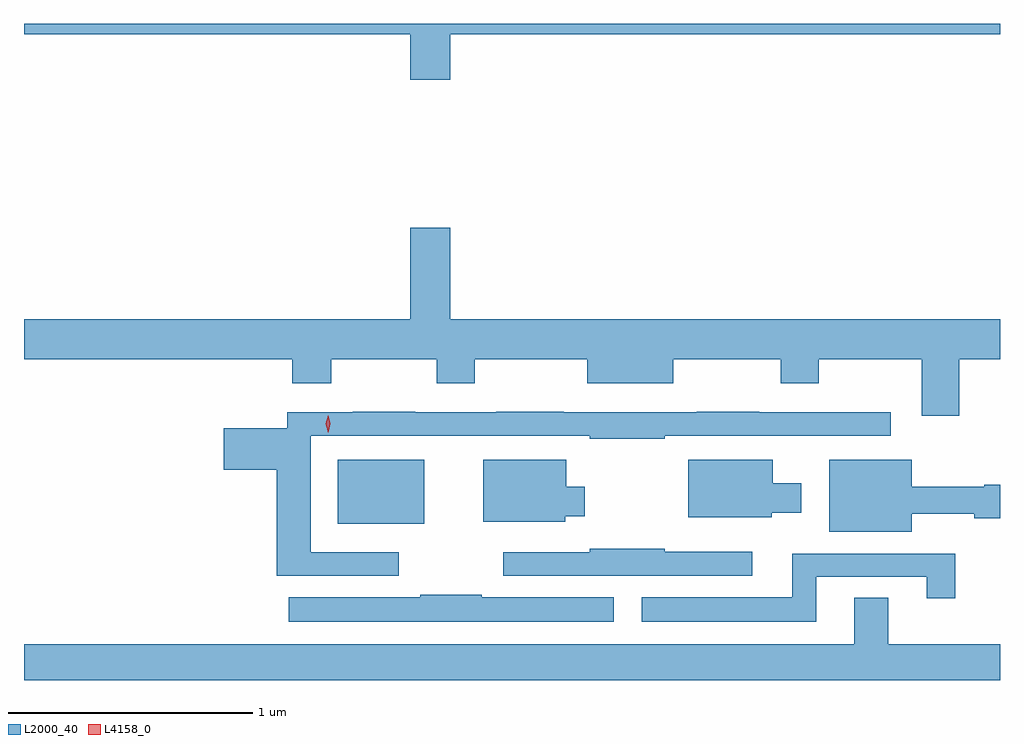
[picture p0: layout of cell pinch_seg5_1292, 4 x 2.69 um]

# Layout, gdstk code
import gdstk
lib = gdstk.Library(unit=1e-6, precision=1e-09)
def R(c, l, rs):  # rectangles x0, y0, x1, y1
    for r in rs: c.add(gdstk.rectangle(r[:2], r[2:], *l))
def P(c, l, *ps):  # polygons
    for p in ps: c.add(gdstk.Polygon(p, *l))
L2000_40 = (2000, 40)
L4158_0 = (4158, 0)

pinch_seg5_1292 = lib.new_cell('pinch_seg5_1292')
R(pinch_seg5_1292, L2000_40, [(524.351,833.441,524.707,833.704)])
P(pinch_seg5_1292, L2000_40, [(524.812,835.448),(527.066,835.448),(527.066,835.491),(523.066,835.491),(523.066,835.448),(524.648,835.448),(524.648,835.26),(524.812,835.26)],
  [(526.898,834.116),(527.066,834.116),(527.066,834.28),(524.812,834.28),(524.812,834.655),(524.648,834.655),(524.648,834.28),(523.066,834.28),(523.066,834.116),(524.165,834.116),(524.165,834.017),(524.325,834.017),(524.325,834.116),(524.758,834.116),(524.758,834.017),(524.913,834.017),(524.913,834.116),(525.374,834.116),(525.374,834.017),(525.727,834.017),(525.727,834.116),(526.168,834.116),(526.168,834.017),(526.323,834.017),(526.323,834.116),(526.745,834.116),(526.745,833.883),(526.898,833.883)],
  [(524.602,833.325),(524.242,833.325),(524.242,833.802),(525.385,833.802),(525.385,833.79),(525.692,833.79),(525.692,833.802),(526.618,833.802),(526.618,833.898),(526.079,833.898),(526.079,833.9),(525.823,833.9),(525.823,833.898),(525.278,833.898),(525.278,833.9),(525.001,833.9),(525.001,833.898),(524.669,833.898),(524.669,833.9),(524.413,833.9),(524.413,833.898),(524.145,833.898),(524.145,833.833),(523.884,833.833),(523.884,833.663),(524.102,833.663),(524.102,833.229),(524.602,833.229)],
  [(526.131,833.486),(526.252,833.486),(526.252,833.608),(526.135,833.608),(526.135,833.704),(525.788,833.704),(525.788,833.468),(526.131,833.468)],
  [(526.705,833.483),(526.96,833.483),(526.96,833.464),(527.066,833.464),(527.066,833.6),(527.001,833.6),(527.001,833.593),(526.705,833.593),(526.705,833.704),(526.367,833.704),(526.367,833.408),(526.705,833.408)],
  [(525.285,833.471),(525.364,833.471),(525.364,833.593),(525.289,833.593),(525.289,833.704),(524.948,833.704),(524.948,833.45),(525.285,833.45)],
  [(526.051,833.326),(525.692,833.326),(525.692,833.338),(525.385,833.338),(525.385,833.325),(525.03,833.325),(525.03,833.229),(526.051,833.229)],
  [(526.312,833.223),(526.766,833.223),(526.766,833.136),(526.883,833.136),(526.883,833.319),(526.214,833.319),(526.214,833.14),(525.597,833.14),(525.597,833.039),(526.312,833.039)],
  [(525.484,833.14),(524.942,833.14),(524.942,833.15),(524.689,833.15),(524.689,833.14),(524.151,833.14),(524.151,833.039),(525.484,833.039)],
  [(527.066,832.948),(526.609,832.948),(526.609,833.138),(526.469,833.138),(526.469,832.948),(523.066,832.948),(523.066,832.799),(527.066,832.799)])
P(pinch_seg5_1292, L4158_0, [(524.313,833.814),(524.313,833.814),(524.303,833.85),(524.312,833.885),(524.312,833.886),(524.312,833.885),(524.322,833.85),(524.313,833.814)])

lib.write_gds('pinch_seg5_1292.gds')
